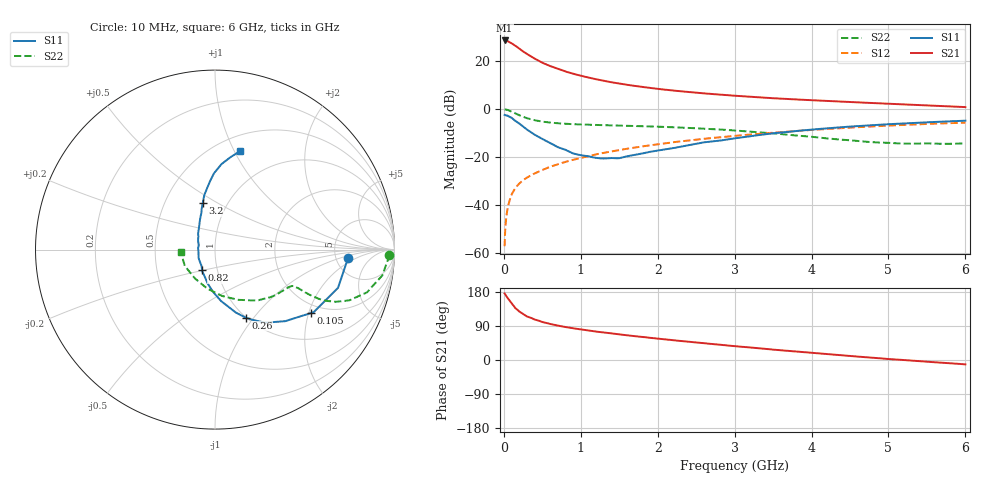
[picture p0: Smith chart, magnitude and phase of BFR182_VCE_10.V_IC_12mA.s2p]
! Infineon Technologies  Discrete & RF Semiconductors
! BFR182
! VCE =  10. V,  IC =  12 mA
! Common Emitter S-Parameters:  Nov 2015
# GHz  S  MA  R  50
!  f  S11  S21  S12  S22
! GHz  MAG  ANG  MAG  ANG  MAG  ANG  MAG  ANG
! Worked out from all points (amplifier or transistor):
!   210 points, 10 MHz to 6 GHz, reference 50 ohm
!   highest |S21| = 28.4 dB at 10 MHz (marker M1)
!   |S21| within 3 dB of that: start of sweep to 184.2 MHz
!   unconditionally stable (mu >= 1): 805.1 MHz to 2.874 GHz
!   at 185 MHz: K = 0.54, MSG = 28.5 dB, |S12| = -31.6 dB
!   at 1.52 GHz: K = 1.05, MAG = 12.4 dB, |S12| = -17.1 dB
!   at 6 GHz: K = 0.90, MSG = 3.2 dB, |S12| = -5.8 dB
!   S11 on the Smith chart (normalised r, x): 10 MHz: 6.55, -1.29; 105 MHz: 1.72, -2.07; 260 MHz: 1.00, -0.91; 820 MHz: 0.84, -0.20; 3.2 GHz: 0.77, +0.43; 6 GHz: 0.65, +1.05
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0.01  0.7438 -3.4  26.16 175.6  0.0014 79.8  0.9703 -1.7
0.025  0.7291 -8.4  25.88 170.8  0.0044 79.0  0.9602 -4.4
0.05  0.7176 -17.3  25.4 163.3  0.0087 78.3  0.9434 -8.8
0.1  0.6507 -32.4  22.91 149.6  0.0164 75.0  0.8796 -15.7
0.105  0.6402 -33.5  22.6 148.5  0.017 74.4  0.8714 -16.2
0.15  0.5589 -45.5  20.31 136.8  0.0225 70.3  0.7999 -20.7
0.2  0.4938 -55.6  17.76 128.1  0.0279 68.7  0.7326 -23.4
0.26  0.4158 -65.7  15.1 119.7  0.0336 67.4  0.6718 -24.9
0.3  0.3701 -71.6  13.69 115.0  0.037 67.5  0.6361 -25.4
0.4  0.2891 -83.2  10.99 106.9  0.0453 67.8  0.5762 -25.5
0.5  0.2356 -92.7  9.015 100.3  0.0534 68.1  0.5394 -25.2
0.6  0.195 -101.7  7.72 95.2  0.062 68.5  0.5162 -24.9
0.7  0.1597 -111.3  6.73 90.8  0.0699 69.2  0.4987 -24.9
0.82  0.1357 -121.9  5.807 86.4  0.0804 69.0  0.485 -24.9
1.02  0.1072 -142.7  4.757 80.2  0.0969 68.8  0.4697 -25.8
1.4  0.0946 175.0  3.54 70.1  0.13 67.2  0.4516 -29.0
2.02  0.137 132.6  2.562 56.0  0.1846 62.8  0.4231 -36.6
3.1  0.2553 106.1  1.817 34.9  0.2821 52.9  0.3439 -55.2
3.2  0.2684 104.7  1.773 33.1  0.291 51.8  0.3342 -57.5
4.1  0.3802 94.3  1.475 17.3  0.3712 42.0  0.2514 -84.6
5.1  0.4859 84.6  1.253 1.3  0.4542 30.3  0.1916 -129.9
6  0.5646 75.8  1.081 -11.5  0.5142 18.5  0.1913 -176.4
